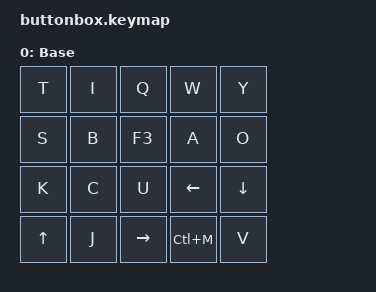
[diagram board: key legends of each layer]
#include <behaviors.dtsi>
#include <dt-bindings/zmk/keys.h>

/ {
    keymap {
        compatible = "zmk,keymap";

        default_layer {
            display-name = "Base";
            bindings = <
                &kp T &kp I &kp Q &kp W &kp Y
                &kp S &kp B &kp F3 &kp A &kp O
                &kp K &kp C &kp U &kp LEFT &kp DOWN
                &kp UP &kp J &kp RIGHT &kp LC(M) &kp V
            >;
        };
    };
};
